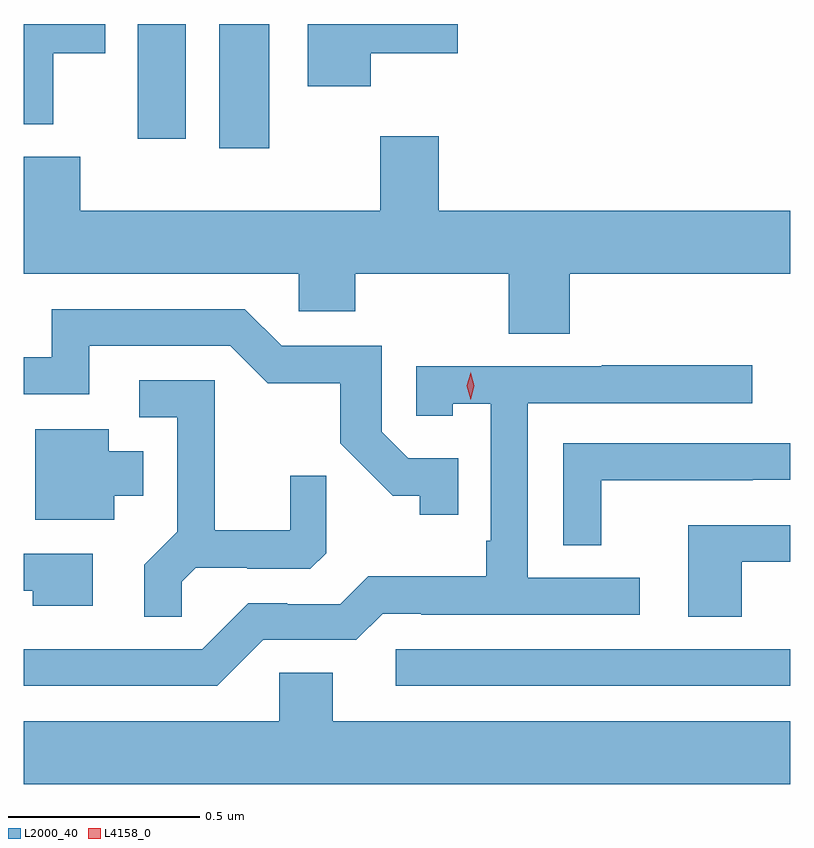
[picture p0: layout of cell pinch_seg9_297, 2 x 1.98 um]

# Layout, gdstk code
import gdstk
lib = gdstk.Library(unit=1e-6, precision=1e-09)
def R(c, l, rs):  # rectangles x0, y0, x1, y1
    for r in rs: c.add(gdstk.rectangle(r[:2], r[2:], *l))
def P(c, l, *ps):  # polygons
    for p in ps: c.add(gdstk.Polygon(p, *l))
L2000_40 = (2000, 40)
L4158_0 = (4158, 0)

pinch_seg9_297 = lib.new_cell('pinch_seg9_297')
R(pinch_seg9_297, L2000_40, [(481.497,1188.684,482.527,1188.78), (481.037,1190.088,481.168,1190.412), (480.824,1190.112,480.949,1190.412)])
P(pinch_seg9_297, L2000_40, [(481.432,1190.336),(481.66,1190.336),(481.66,1190.412),(481.268,1190.412),(481.268,1190.25),(481.432,1190.25)],
  [(480.603,1190.336),(480.739,1190.336),(480.739,1190.412),(480.527,1190.412),(480.527,1190.15),(480.603,1190.15)],
  [(481.952,1189.76),(482.527,1189.76),(482.527,1189.924),(481.61,1189.924),(481.61,1190.119),(481.457,1190.119),(481.457,1189.924),(480.674,1189.924),(480.674,1190.065),(480.527,1190.065),(480.527,1189.76),(481.245,1189.76),(481.245,1189.662),(481.392,1189.662),(481.392,1189.76),(481.792,1189.76),(481.792,1189.603),(481.952,1189.603)],
  [(481.661,1189.278),(481.53,1189.278),(481.461,1189.347),(481.461,1189.572),(481.2,1189.572),(481.104,1189.668),(480.599,1189.668),(480.599,1189.542),(480.527,1189.542),(480.527,1189.446),(480.697,1189.446),(480.697,1189.572),(481.065,1189.572),(481.164,1189.474),(481.353,1189.474),(481.353,1189.318),(481.49,1189.181),(481.56,1189.181),(481.56,1189.131),(481.661,1189.131)],
  [(481.152,1188.804),(481.395,1188.804),(481.464,1188.873),(481.564,1188.873),(481.564,1188.87),(482.134,1188.87),(482.134,1188.966),(481.842,1188.966),(481.842,1189.422),(482.428,1189.422),(482.428,1189.521),(482.035,1189.521),(482.035,1189.518),(481.551,1189.518),(481.551,1189.389),(481.647,1189.389),(481.647,1189.421),(481.746,1189.421),(481.746,1189.063),(481.734,1189.063),(481.734,1188.97),(481.426,1188.97),(481.353,1188.897),(481.214,1188.897),(481.214,1188.9),(481.113,1188.9),(480.993,1188.78),(480.527,1188.78),(480.527,1188.684),(481.032,1188.684)],
  [(480.939,1188.956),(480.976,1188.993),(481.11,1188.993),(481.11,1188.99),(481.275,1188.99),(481.316,1189.031),(481.316,1189.233),(481.222,1189.233),(481.222,1189.09),(481.025,1189.09),(481.025,1189.482),(480.828,1189.482),(480.828,1189.386),(480.927,1189.386),(480.927,1189.087),(480.841,1189.001),(480.841,1188.865),(480.939,1188.865)],
  [(480.763,1189.181),(480.838,1189.181),(480.838,1189.297),(480.748,1189.297),(480.748,1189.354),(480.557,1189.354),(480.557,1189.118),(480.763,1189.118)],
  [(482.034,1189.221),(482.429,1189.221),(482.429,1189.222),(482.527,1189.222),(482.527,1189.317),(481.935,1189.317),(481.935,1189.051),(482.034,1189.051)],
  [(482.401,1189.008),(482.527,1189.008),(482.527,1189.104),(482.261,1189.104),(482.261,1188.865),(482.401,1188.865)],
  [(480.706,1189.029),(480.527,1189.029),(480.527,1188.933),(480.55,1188.933),(480.55,1188.893),(480.706,1188.893)],
  [(482.527,1188.592),(481.333,1188.592),(481.333,1188.719),(481.194,1188.719),(481.194,1188.592),(480.527,1188.592),(480.527,1188.428),(482.527,1188.428)])
P(pinch_seg9_297, L4158_0, [(481.693,1189.431),(481.693,1189.431),(481.683,1189.467),(481.693,1189.502),(481.693,1189.503),(481.693,1189.502),(481.703,1189.467),(481.693,1189.431)])

lib.write_gds('pinch_seg9_297.gds')
